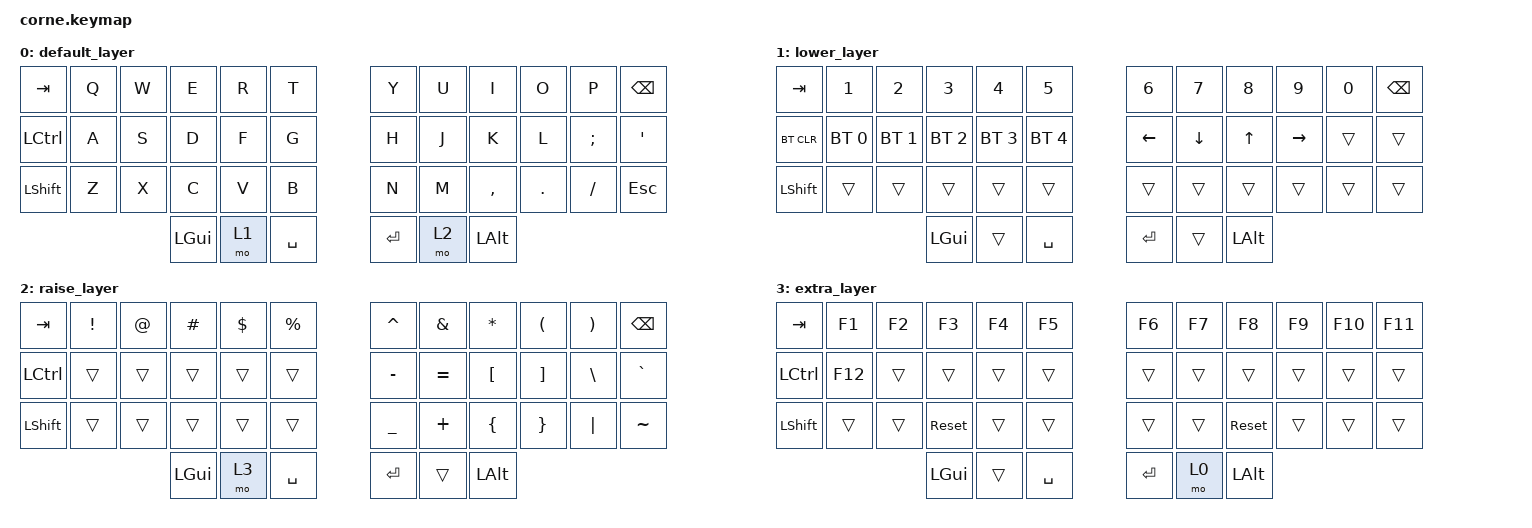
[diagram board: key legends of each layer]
/*
 * Copyright (c) 2020 The ZMK Contributors
 *
 * SPDX-License-Identifier: MIT
 */

/*
 * Copyright (c) 2020 The ZMK Contributors
 *
 * SPDX-License-Identifier: MIT
 */

/*
 * Copyright (c) 2020 The ZMK Contributors
 *
 * SPDX-License-Identifier: MIT
 */

#include <behaviors.dtsi>
#include <dt-bindings/zmk/keys.h>
#include <dt-bindings/zmk/bt.h>

 / {
         keymap {
                 compatible = "zmk,keymap";

                 default_layer {
                         // -----------------------------------------------------------------------------------------
                         // |  TAB |  Q  |  W  |  E  |  R  |  T  |   |  Y  |  U   |  I  |  O  |  P  | BKSP |
                         // | CTRL |  A  |  S  |  D  |  F  |  G  |   |  H  |  J   |  K  |  L  |  ;  |  '   |
                         // | SHFT |  Z  |  X  |  C  |  V  |  B  |   |  N  |  M   |  ,  |  .  |  /  | ESC  |
                         //                    | GUI | LWR | SPC |   | ENT | RSE  | ALT |
                         bindings = <
    &kp TAB   &kp Q &kp W &kp E &kp R &kp T   &kp Y &kp U  &kp I     &kp O   &kp P    &kp BSPC
    &kp LCTRL &kp A &kp S &kp D &kp F &kp G   &kp H &kp J  &kp K     &kp L   &kp SEMI &kp SQT
    &kp LSHFT &kp Z &kp X &kp C &kp V &kp B   &kp N &kp M  &kp COMMA &kp DOT &kp FSLH &kp ESC
                   &kp LGUI &mo 1 &kp SPACE   &kp RET &mo 2 &kp LALT
                         >;
                 };
                 lower_layer {
                         // -----------------------------------------------------------------------------------------
                         // |  TAB |  1  |  2  |  3  |  4  |  5  |   |  6  |  7  |  8  |  9  |  0  | BKSP |
                         // | BTCLR| BT1 | BT2 | BT3 | BT4 | BT5 |   | LFT | DWN |  UP | RGT |     |      |
                         // | SHFT |     |     |     |     |     |   |     |     |     |     |     |      |
                         //                    | GUI | EXT | SPC |   | ENT |reset| ALT |
                         bindings = <
    &kp TAB    &kp N1       &kp N2       &kp N3       &kp N4       &kp N5         &kp N6   &kp N7   &kp N8 &kp N9    &kp N0 &kp BSPC
    &bt BT_CLR &bt BT_SEL 0 &bt BT_SEL 1 &bt BT_SEL 2 &bt BT_SEL 3 &bt BT_SEL 4   &kp LEFT &kp DOWN &kp UP &kp RIGHT &trans &trans
    &kp LSHFT  &trans       &trans       &trans       &trans       &trans         &trans   &trans   &trans &trans    &trans &trans
                                         &kp LGUI     &trans       &kp SPACE      &kp RET  &trans   &kp LALT
                         >;
                 };
                 raise_layer {
                         // -----------------------------------------------------------------------------------------
                         // |  TAB |  !  |  @  |  #  |  $  |  %  |   |  ^  |  &  |  *  |  (  |  )  | BKSP |
                         // | CTRL |     |     |     |     |     |   |  -  |  =  |  [  |  ]  |  \  |  `   |
                         // | SHFT |     |     |     |     |     |   |  _  |  +  |  {  |  }  | "|" |  ~   |
                         //                    | GUI | EXT | SPC |   | ENT |     | ALT |
                         bindings = <
    &kp  TAB  &kp EXCL &kp AT &kp HASH &kp DLLR &kp PRCNT   &kp CARET &kp AMPS  &kp ASTRK &kp LPAR &kp RPAR &kp BSPC
    &kp LCTRL &trans   &trans &trans   &trans   &trans      &kp MINUS &kp EQUAL &kp LBKT  &kp RBKT &kp BSLH &kp GRAVE
    &kp LSHFT &trans   &trans &trans   &trans   &trans      &kp UNDER &kp PLUS  &kp LBRC  &kp RBRC &kp PIPE &kp TILDE
                              &kp LGUI &mo 3   &kp SPACE   &kp RET   &trans    &kp LALT
                         >;
                 };
                 extra_layer {
                         // -----------------------------------------------------------------------------------------
                         // |  TAB |  F1 |  F2 |  F3 |  F4 |  F5 |   |  F6 |  F7 |  F8 |  F9 | F10 | F11  |
                         // | CTRL | F12 |     |     |     |     |   |     |     |     |     |     |      |
                         // | SHFT |     |     |reset|     |     |   |     |     |reset|     |     |      |
                         //                    | GUI |     | SPC |   | ENT |DEF  | ALT |
                         bindings = <
    &kp TAB   &kp F1 &kp F2 &kp F3 &kp F4 &kp F5   &kp F6 &kp F7 &kp F8 &kp F9 &kp F10 &kp F11
    &kp LCTRL &kp F12 &trans &trans &trans &trans  &trans &trans &trans &trans &trans &trans
    &kp LSHFT &trans &trans &sys_reset &trans &trans   &trans &trans &sys_reset &trans &trans &trans
                               &kp LGUI &trans &kp SPACE   &kp RET &mo 0 &kp LALT
                         >;
                 };
         };
 };

 
